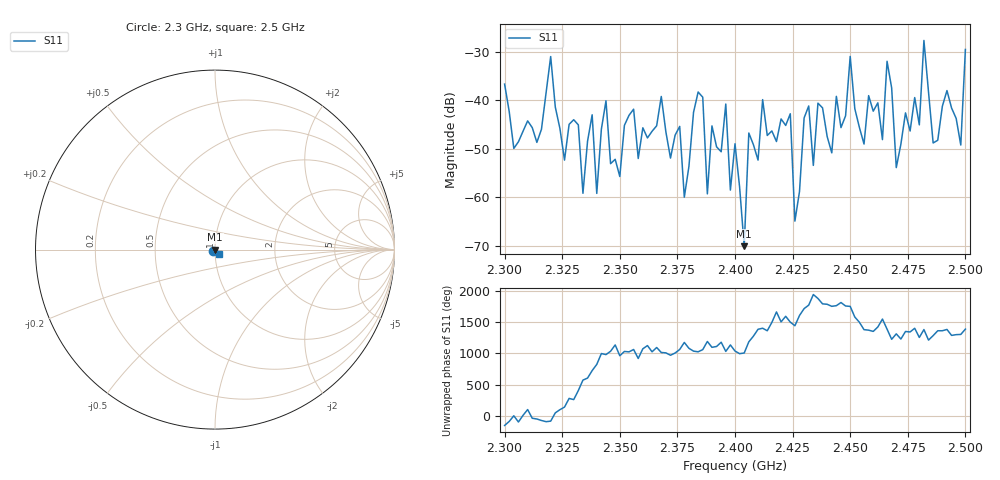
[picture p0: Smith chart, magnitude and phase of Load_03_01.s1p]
# HZ S RI R 50
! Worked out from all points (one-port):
!   101 points, 2.3 GHz to 2.5 GHz, reference 50 ohm
!   lowest |S11| = -70.1 dB at 2.404 GHz (marker M1), VSWR 1.00, Z = 50 - j0.0303 ohm
!   |S11| at or under -10 dB: start of sweep to end of sweep
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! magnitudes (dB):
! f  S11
! 2.3 GHz  -36.7
! 2.314 GHz  -48.7
! 2.32 GHz  -31.0
! 2.326 GHz  -52.3
! 2.338 GHz  -43.0
! 2.34 GHz  -59.2
! 2.344 GHz  -40.1
! 2.35 GHz  -55.7
! 2.376 GHz  -45.4
! 2.378 GHz  -60.0
! 2.384 GHz  -38.3
! 2.4 GHz  -49.0
! 2.404 GHz  -70.1
! 2.406 GHz  -46.8
! 2.412 GHz  -39.9
! 2.424 GHz  -42.8
! 2.426 GHz  -64.9
! 2.43 GHz  -43.6
! 2.442 GHz  -50.8
! 2.45 GHz  -31.0
! 2.456 GHz  -49.0
! 2.466 GHz  -32.0
! 2.47 GHz  -53.9
! 2.476 GHz  -46.3
! 2.482 GHz  -27.7
! 2.486 GHz  -48.8
! 2.498 GHz  -49.2
! 2.5 GHz  -29.5
